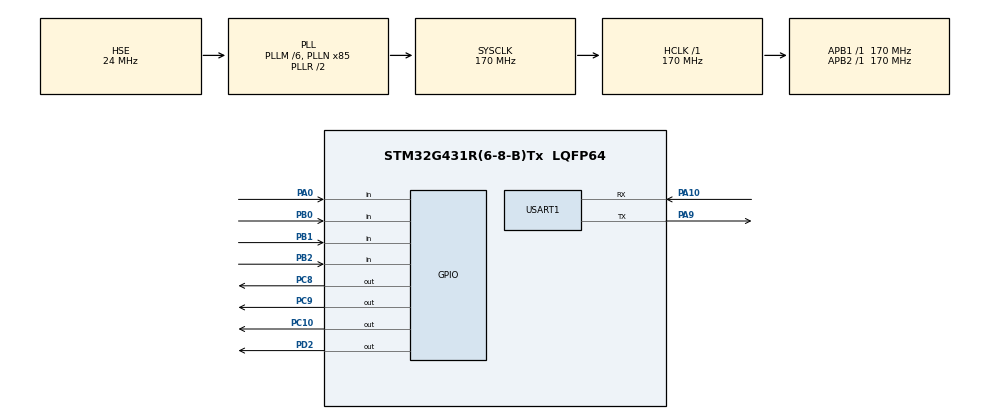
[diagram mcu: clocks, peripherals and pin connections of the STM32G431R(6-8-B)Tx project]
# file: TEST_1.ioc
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Mcu.Family=STM32G4
Mcu.Name=STM32G431R(6-8-B)Tx
Mcu.Package=LQFP64
NVIC.PriorityGroup=NVIC_PRIORITYGROUP_4
NVIC.TIM2_IRQn=true\:0\:0\:false\:false\:true\:true\:true\:true
PA0.GPIO_PuPd=GPIO_PULLUP
PA0.Signal=GPIO_Input
PA10.Mode=Asynchronous
PA10.Signal=USART1_RX
PA13.Mode=Serial_Wire
PA13.Signal=SYS_JTMS-SWDIO
PA14.Mode=Serial_Wire
PA14.Signal=SYS_JTCK-SWCLK
PA9.Mode=Asynchronous
PA9.Signal=USART1_TX
PB0.GPIO_PuPd=GPIO_PULLUP
PB0.Signal=GPIO_Input
PB1.GPIO_PuPd=GPIO_PULLUP
PB1.Signal=GPIO_Input
PB2.GPIO_PuPd=GPIO_PULLUP
PB2.Signal=GPIO_Input
PC10.PinState=GPIO_PIN_SET
PC10.Signal=GPIO_Output
PC8.Signal=GPIO_Output
PC9.Signal=GPIO_Output
PD2.PinState=GPIO_PIN_SET
PD2.Signal=GPIO_Output
PF0-OSC_IN.Mode=HSE-External-Oscillator
PF0-OSC_IN.Signal=RCC_OSC_IN
PF1-OSC_OUT.Mode=HSE-External-Oscillator
PF1-OSC_OUT.Signal=RCC_OSC_OUT
ProjectManager.HeapSize=0x200
ProjectManager.StackSize=0x400
ProjectManager.TargetToolchain=MDK-ARM V5.32
RCC.ADC12Freq_Value=170000000
RCC.AHBFreq_Value=170000000
RCC.APB1Freq_Value=170000000
RCC.APB1TimFreq_Value=170000000
RCC.APB2Freq_Value=170000000
RCC.APB2TimFreq_Value=170000000
RCC.CortexFreq_Value=170000000
RCC.EXTERNAL_CLOCK_VALUE=12288000
RCC.HCLKFreq_Value=170000000
RCC.HSE_VALUE=24000000
RCC.HSI48_VALUE=48000000
RCC.HSI_VALUE=16000000
RCC.LSE_VALUE=32768
RCC.PLLM=RCC_PLLM_DIV6
RCC.PLLN=85
RCC.PLLSourceVirtual=RCC_PLLSOURCE_HSE
RCC.SYSCLKFreq_VALUE=170000000
RCC.SYSCLKSource=RCC_SYSCLKSOURCE_PLLCLK
RCC.USBFreq_Value=170000000
RCC.VCOOutputFreq_Value=340000000
TIM2.AutoReloadPreload=TIM_AUTORELOAD_PRELOAD_ENABLE
TIM2.PeriodNoDither=1000000
TIM2.Prescaler=170
USART1.VirtualMode-Asynchronous=VM_ASYNC
VP_SYS_VS_DBSignals.Mode=DisableDeadBatterySignals
VP_TIM2_VS_ClockSourceINT.Mode=Internal
board=custom

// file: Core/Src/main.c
/* USER CODE BEGIN Header */
/**
  ******************************************************************************
  * @file           : main.c
  * @brief          : Main program body
  ******************************************************************************
  * @attention
  *
  * Copyright (c) 2022 STMicroelectronics.
  * All rights reserved.
  *
  * This software is licensed under terms that can be found in the LICENSE file
  * in the root directory of this software component.
  * If no LICENSE file comes with this software, it is provided AS-IS.
  *
  ******************************************************************************
  */
/* USER CODE END Header */
#include "main.h"
#include "tim.h"
#include "usart.h"
#include "gpio.h"

/* USER CODE BEGIN Includes */
#include "at24c02.h"
#include "lcd.h"
/* USER CODE END Includes */

/* USER CODE BEGIN PV */
extern int hour,minute,second;
extern uint8_t Flag_S,Flag_M;
int hour = 11,minute= 59,second = 49;
uint8_t Flag_S = 0,Flag_M = 0;
/* USER CODE END PV */

void SystemClock_Config(void);

/* USER CODE BEGIN 0 */
void Show_Time(uint8_t Line,uint16_t Column,uint8_t Hour,uint8_t minute,uint8_t second)
{
	LCD_DisplayChar(Line,Column,Hour/10+48);//时
	LCD_DisplayChar(Line,Column-16,Hour%10+48);
	LCD_DisplayChar(Line,Column-32,':');
	LCD_DisplayChar(Line,Column-48,minute/10+48);//分
	LCD_DisplayChar(Line,Column-64,minute%10+48);
	LCD_DisplayChar(Line,Column-80,':');
	LCD_DisplayChar(Line,Column-96,second/10+48);//秒
	LCD_DisplayChar(Line,Column-112,second%10+48);
}

uint8_t Key_Press(void)
{
	uint8_t key_press = 0;

	if(HAL_GPIO_ReadPin(GPIOB,GPIO_PIN_0)==0)
	{
		HAL_Delay(10);
		if(HAL_GPIO_ReadPin(GPIOB,GPIO_PIN_0)==0)
		{
			while(!HAL_GPIO_ReadPin(GPIOB,GPIO_PIN_0));
			key_press = 1;
			printf("%d",key_press);
		}
	}
	if(HAL_GPIO_ReadPin(GPIOB,GPIO_PIN_1)==0)
	{
		HAL_Delay(10);
		if(HAL_GPIO_ReadPin(GPIOB,GPIO_PIN_1)==0)
		{
			while(!HAL_GPIO_ReadPin(GPIOB,GPIO_PIN_1));
			key_press = 2;
			printf("%d",key_press);
		}
	}
	if(HAL_GPIO_ReadPin(GPIOB,GPIO_PIN_2)==0)
	{
		HAL_Delay(10);
		if(HAL_GPIO_ReadPin(GPIOB,GPIO_PIN_2)==0)
		{
			while(!HAL_GPIO_ReadPin(GPIOB,GPIO_PIN_2));
			key_press = 3;
			printf("%d",key_press);
		}
	}
	if(HAL_GPIO_ReadPin(GPIOA,GPIO_PIN_0)==0)
	{
		HAL_Delay(10);
		if(HAL_GPIO_ReadPin(GPIOA,GPIO_PIN_0)==0)
		{
			while(!HAL_GPIO_ReadPin(GPIOA,GPIO_PIN_0));
			key_press = 4;
			printf("%d",key_press);
		}
	}

	return key_press;
}

void Clock_Set(void)
{
	uint8_t Key_Flag = 0,Key_Flag_1 = 0,Key_Flag_2 = 0,Key_Flag_3 = 0;
	uint8_t Set_Flag = 0;
	uint8_t Flag = 0;

	HAL_TIM_Base_Stop_IT(&htim2);
	LCD_DisplayStringLine(Line1,(uint8_t *)"     RTC-SETTING");

	while(1)
	{
		switch(Key_Press())
		{
			case 1: Key_Flag = 1;break;
			case 2: Key_Flag = 2;break;
		}
		if((Key_Flag == 1)||(Key_Flag_2 == 1))
		{
			break;
		}
		if(Key_Flag == 2)
		{
//			Key_Flag = 0;
			if(Set_Flag == 0&&Key_Flag_3 == 0)//小时
			{
				Set_Flag = 1;
				LCD_SetBackColor(Blue);
				LCD_SetTextColor(Red);
				LCD_DisplayChar(Line5,179,hour/10+48);//时
				LCD_DisplayChar(Line5,179-16,hour%10+48);
				LCD_SetBackColor(Blue);
				LCD_SetTextColor(White);
				LCD_DisplayChar(Line5,131,minute/10+48);//分
				LCD_DisplayChar(Line5,115,minute%10+48);
				LCD_DisplayChar(Line5,83,second/10+48);//秒
				LCD_DisplayChar(Line5,67,second%10+48);	//高亮
				while(1)
				{
					switch(Key_Press())
					{
						case 3: hour++;break;
						case 4: hour--;break;
						case 2: Flag = 1;break;
						case 1: Key_Flag_1 = 1;break;
					}
					if(hour == 24)
					{
						hour = 0;
					}
					if(hour < 0)
					{
						hour = 23;
					}
					LCD_SetBackColor(Blue);
					LCD_SetTextColor(Red);
					LCD_DisplayChar(Line5,179,hour/10+48);//时
					LCD_DisplayChar(Line5,179-16,hour%10+48);
					if(Flag == 1)
					{
						Flag = 0;
						break;
					}
					if(Key_Flag_1 == 1)
					{
						Key_Flag_2 = 1;
						Key_Flag_3 = 1;
						break;
					}
				}
			}
			if(Set_Flag == 1&&Key_Flag_3 == 0)//分钟
			{
				Set_Flag = 2;
				LCD_SetBackColor(Blue);
				LCD_SetTextColor(Red);
				LCD_DisplayChar(Line5,131,minute/10+48);//时
				LCD_DisplayChar(Line5,115,minute%10+48);
				LCD_SetBackColor(Blue);
				LCD_SetTextColor(White);
				LCD_DisplayChar(Line5,179,hour/10+48);//分
				LCD_DisplayChar(Line5,179-16,hour%10+48);
				LCD_DisplayChar(Line5,83,second/10+48);//秒
				LCD_DisplayChar(Line5,67,second%10+48);	//高亮
				while(1)
				{
					switch(Key_Press())
					{
						case 3: minute++;break;
						case 4: minute--;break;
						case 2: Flag = 1;break;
						case 1: Key_Flag_1 = 1;break;
					}
					if(minute == 60)
					{
						minute = 0;
					}
					if(minute < 0)
					{
						minute = 59;
					}
					LCD_SetBackColor(Blue);
					LCD_SetTextColor(Red);
					LCD_DisplayChar(Line5,131,minute/10+48);//时
					LCD_DisplayChar(Line5,115,minute%10+48);
					if(Flag == 1)
					{
						Flag = 0;
						break;
					}
					if(Key_Flag_1 == 1)
					{
						Key_Flag_2 = 1;
						Key_Flag_3 = 1;
						break;
					}
				}
			}
			if(Set_Flag == 2&&Key_Flag_3 == 0)//秒
			{
				Set_Flag = 0;
				LCD_SetBackColor(Blue);
				LCD_SetTextColor(Red);
				LCD_DisplayChar(Line5,83,second/10+48);//时
				LCD_DisplayChar(Line5,67,second%10+48);
				LCD_SetBackColor(Blue);
				LCD_SetTextColor(White);
				LCD_DisplayChar(Line5,179,hour/10+48);//时
				LCD_DisplayChar(Line5,179-16,hour%10+48);
				LCD_DisplayChar(Line5,131,minute/10+48);//分
				LCD_DisplayChar(Line5,115,minute%10+48);	//高亮
				while(1)
				{
					switch(Key_Press())
					{
						case 3: second++;break;
						case 4: second--;break;
						case 2: Flag = 1;break;
						case 1: Key_Flag_1 = 1;break;
					}
					if(second == 60)
					{
						second = 0;
					}
					if(second < 0)
					{
						second = 59;
					}
					LCD_SetBackColor(Blue);
					LCD_SetTextColor(Red);
					LCD_DisplayChar(Line5,83,second/10+48);//时
					LCD_DisplayChar(Line5,67,second%10+48);
					if(Flag == 1)
					{
						Flag = 0;
						break;
					}
					if(Key_Flag_1 == 1)
					{
						Key_Flag_2 = 1;
						break;
					}
				}
			}
		}
	}
	LCD_SetBackColor(Blue);
	LCD_SetTextColor(White);
	LCD_ClearLine(Line1);
//	LCD_DisplayChar(Line5,83,second/10+48);//时
//	LCD_DisplayChar(Line5,67,second%10+48);
	LCD_DisplayStringLine(Line1,(uint8_t *)"        MAIN");
	HAL_TIM_Base_Start_IT(&htim2);
}
/* USER CODE END 0 */

int main(void)
{

  /* MCU Configuration--------------------------------------------------------*/

  /* Reset of all peripherals, Initializes the Flash interface and the Systick. */
  HAL_Init();

  /* Configure the system clock */
  SystemClock_Config();

  /* Initialize all configured peripherals */
  MX_GPIO_Init();
  MX_USART1_UART_Init();
  MX_TIM2_Init();
  /* USER CODE BEGIN 2 */
	Initial_24c02();
	LCD_Init();
	LCD_Clear(Blue);
	LCD_SetBackColor(Blue);
	LCD_SetTextColor(White);
	LCD_DisplayStringLine(Line1,(uint8_t *)"        MAIN");
	LCD_DisplayStringLine(Line5,(uint8_t *)"    RTC:");
	HAL_TIM_Base_Start_IT(&htim2);

  /* USER CODE END 2 */

  /* Infinite loop */
  /* USER CODE BEGIN WHILE */
  while (1)
  {
		if(Key_Press() == 1)
		{
			Clock_Set();
	  }

    /* USER CODE END WHILE */

  }
}

void SystemClock_Config(void)
{
  RCC_OscInitTypeDef RCC_OscInitStruct = {0};
  RCC_ClkInitTypeDef RCC_ClkInitStruct = {0};

  /** Configure the main internal regulator output voltage
  */
  HAL_PWREx_ControlVoltageScaling(PWR_REGULATOR_VOLTAGE_SCALE1_BOOST);

  /** Initializes the RCC Oscillators according to the specified parameters
  * in the RCC_OscInitTypeDef structure.
  */
  RCC_OscInitStruct.OscillatorType = RCC_OSCILLATORTYPE_HSE;
  RCC_OscInitStruct.HSEState = RCC_HSE_ON;
  RCC_OscInitStruct.PLL.PLLState = RCC_PLL_ON;
  RCC_OscInitStruct.PLL.PLLSource = RCC_PLLSOURCE_HSE;
  RCC_OscInitStruct.PLL.PLLM = RCC_PLLM_DIV6;
  RCC_OscInitStruct.PLL.PLLN = 85;
  RCC_OscInitStruct.PLL.PLLP = RCC_PLLP_DIV2;
  RCC_OscInitStruct.PLL.PLLQ = RCC_PLLQ_DIV2;
  RCC_OscInitStruct.PLL.PLLR = RCC_PLLR_DIV2;
  if (HAL_RCC_OscConfig(&RCC_OscInitStruct) != HAL_OK)
  {
    Error_Handler();
  }

  /** Initializes the CPU, AHB and APB buses clocks
  */
  RCC_ClkInitStruct.ClockType = RCC_CLOCKTYPE_HCLK|RCC_CLOCKTYPE_SYSCLK
                              |RCC_CLOCKTYPE_PCLK1|RCC_CLOCKTYPE_PCLK2;
  RCC_ClkInitStruct.SYSCLKSource = RCC_SYSCLKSOURCE_PLLCLK;
  RCC_ClkInitStruct.AHBCLKDivider = RCC_SYSCLK_DIV1;
  RCC_ClkInitStruct.APB1CLKDivider = RCC_HCLK_DIV1;
  RCC_ClkInitStruct.APB2CLKDivider = RCC_HCLK_DIV1;

  if (HAL_RCC_ClockConfig(&RCC_ClkInitStruct, FLASH_LATENCY_4) != HAL_OK)
  {
    Error_Handler();
  }
}

/* USER CODE BEGIN 4 */
void HAL_TIM_PeriodElapsedCallback(TIM_HandleTypeDef *htim)
{
	if(htim->Instance == TIM2)
	{
		second++;
		if(second == 60)
		{
			Flag_S = 1;
			second = 0;
		}
		if(Flag_S == 1)
		{
			Flag_S = 0;
			minute++;
			if(minute == 60)
			{
				Flag_M = 1;
				minute = 0;
			}
		}
		if(Flag_M == 1)
		{
			Flag_M = 0;
			hour++;
			if(hour == 24)
			{
				hour = 0;
				minute = 0;
				second = 0;
			}
		}
		Show_Time(Line5,179,hour,minute,second);
	}
}
/* USER CODE END 4 */

void Error_Handler(void)
{
  __disable_irq();
  while (1)
  {
  }
}
